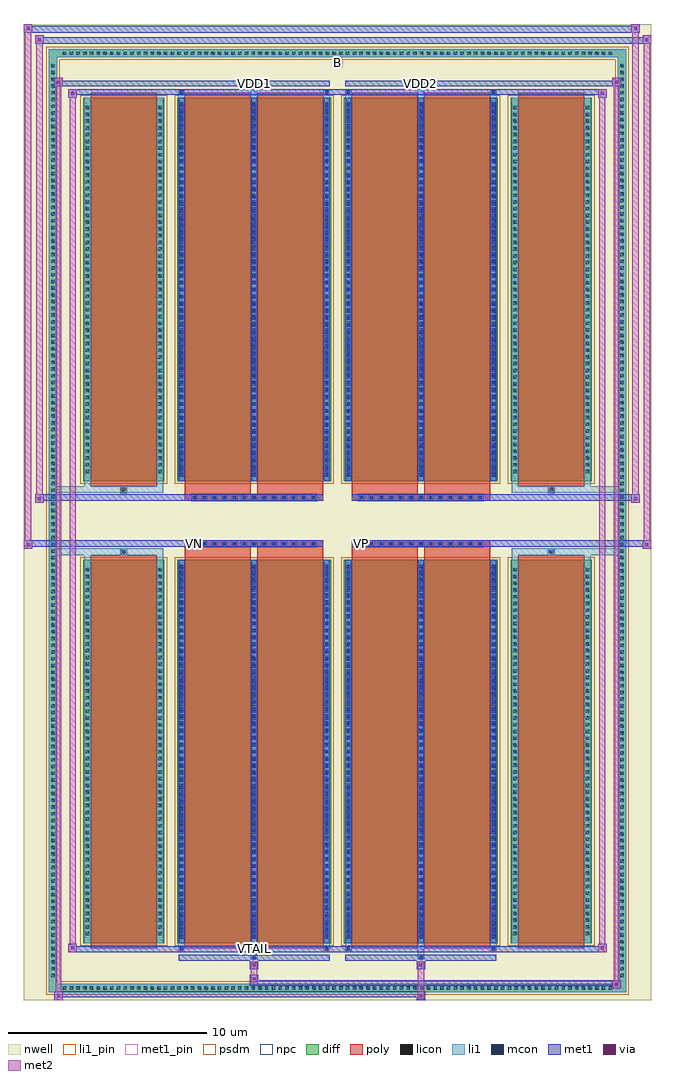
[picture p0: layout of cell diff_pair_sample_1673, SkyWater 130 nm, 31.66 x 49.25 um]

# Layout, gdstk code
import gdstk
lib = gdstk.Library(unit=1e-6, precision=5e-09)
def R(c, l, rs):  # rectangles x0, y0, x1, y1
    for r in rs: c.add(gdstk.rectangle(r[:2], r[2:], *l))
def A(c, l, x, y, w, h, nx, ny, dx, dy):  # array of equal rectangles
    R(c, l, [(x+i*dx, y+j*dy, x+i*dx+w, y+j*dy+h) for i in range(nx) for j in range(ny)])
def P(c, l, *ps):  # polygons
    for p in ps: c.add(gdstk.Polygon(p, *l))
nwell = (64, 20)
diff = (65, 20)
poly = (66, 20)
licon = (66, 44)
li1_pin = (67, 16)
li1 = (67, 20)
mcon = (67, 44)
met1_pin = (68, 16)
met1 = (68, 20)
via = (68, 44)
met2 = (69, 20)
psdm = (94, 20)
npc = (95, 20)

diff_pair_sample_1673 = lib.new_cell('diff_pair_sample_1673')
R(diff_pair_sample_1673, nwell, [(-15.83,-24.19,15.83,25.06), (-13.15,-22.38,-0.01,-0.8), (0.01,-22.38,13.15,-0.8), (-13.15,0.8,-0.01,22.38), (0.01,0.8,13.15,22.38)])
A(diff_pair_sample_1673, diff, -13.975, -23.79, 0.41, 0.41, 82, 2, 0.34, 47.17)
A(diff_pair_sample_1673, diff, -14.56, -23.155, 0.41, 0.41, 1, 136, 0, 0.34)
A(diff_pair_sample_1673, diff, 14.15, -23.155, 0.41, 0.41, 1, 136, 0, 0.34)
R(diff_pair_sample_1673, diff, [(-13.975,-23.79,13.975,-23.38), (-14.56,-23.155,-14.15,23.155), (14.15,-23.155,14.56,23.155), (-12.84,-21.335,-8.73,-1.985), (-8.09,-21.335,-0.32,-1.985), (0.32,-21.335,8.09,-1.985), (8.73,-21.335,12.84,-1.985), (-12.84,1.985,-8.73,21.335), (-8.09,1.985,-0.32,21.335), (0.32,1.985,8.09,21.335), (8.73,1.985,12.84,21.335), (-13.975,23.38,13.975,23.79)])
P(diff_pair_sample_1673, diff, [(14.56,23.79),(-14.56,23.79),(-14.56,-23.38),(-14.15,-23.38),(-14.15,23.38),(14.15,23.38),(14.15,-23.38),(-14.15,-23.38),(-14.56,-23.38),(-14.56,-23.79),(14.56,-23.79)])
A(diff_pair_sample_1673, poly, -7.37, -1.33, 0.33, 0.33, 13, 2, 0.5, 2.33)
A(diff_pair_sample_1673, poly, 1.04, -1.33, 0.33, 0.33, 13, 2, 0.5, 2.33)
R(diff_pair_sample_1673, poly, [(-12.45,-21.585,-9.12,-1.735), (-7.7,-21.585,-4.37,-1.735), (-4.04,-21.585,-0.71,-1.735), (0.71,-21.585,4.04,-1.735), (4.37,-21.585,7.7,-1.735), (9.12,-21.585,12.45,-1.735), (-10.95,-1.735,-10.62,-1.405), (-10.95,-1.735,-10.62,-1.405), (-7.7,-1.735,-4.37,-1.33), (-4.04,-1.735,-0.71,-1.33), (0.71,-1.735,4.04,-1.33), (4.37,-1.735,7.7,-1.33), (10.62,-1.735,10.95,-1.405), (10.62,-1.735,10.95,-1.405), (-7.7,-1.33,-0.71,-1), (0.71,-1.33,7.7,-1), (-7.7,1,-0.71,1.33), (0.71,1,7.7,1.33), (-7.7,1.33,-4.37,1.735), (-4.04,1.33,-0.71,1.735), (0.71,1.33,4.04,1.735), (4.37,1.33,7.7,1.735), (-10.95,1.405,-10.62,1.735), (-10.95,1.405,-10.62,1.735), (10.62,1.405,10.95,1.735), (10.62,1.405,10.95,1.735), (-12.45,1.735,-9.12,21.585), (-7.7,1.735,-4.37,21.585), (-4.04,1.735,-0.71,21.585), (0.71,1.735,4.04,21.585), (4.37,1.735,7.7,21.585), (9.12,1.735,12.45,21.585)])
A(diff_pair_sample_1673, licon, -13.855, -23.67, 0.17, 0.17, 82, 2, 0.34, 47.17)
A(diff_pair_sample_1673, licon, -14.44, -23.035, 0.17, 0.17, 1, 136, 0, 0.34)
A(diff_pair_sample_1673, licon, 14.27, -23.035, 0.17, 0.17, 1, 136, 0, 0.34)
A(diff_pair_sample_1673, licon, -12.7, -20.925, 0.17, 0.17, 1, 55, 0, 0.34)
A(diff_pair_sample_1673, licon, -9.04, -20.925, 0.17, 0.17, 1, 55, 0, 0.34)
A(diff_pair_sample_1673, licon, -7.95, -20.925, 0.17, 0.17, 3, 55, 3.66, 0.34)
A(diff_pair_sample_1673, licon, 0.46, -20.925, 0.17, 0.17, 3, 55, 3.66, 0.34)
A(diff_pair_sample_1673, licon, 8.87, -20.925, 0.17, 0.17, 1, 55, 0, 0.34)
A(diff_pair_sample_1673, licon, 12.53, -20.925, 0.17, 0.17, 1, 55, 0, 0.34)
A(diff_pair_sample_1673, licon, -7.29, -1.25, 0.17, 0.17, 13, 2, 0.5, 2.33)
A(diff_pair_sample_1673, licon, 1.12, -1.25, 0.17, 0.17, 13, 2, 0.5, 2.33)
A(diff_pair_sample_1673, licon, -12.7, 2.395, 0.17, 0.17, 1, 55, 0, 0.34)
A(diff_pair_sample_1673, licon, -9.04, 2.395, 0.17, 0.17, 1, 55, 0, 0.34)
A(diff_pair_sample_1673, licon, -7.95, 2.395, 0.17, 0.17, 3, 55, 3.66, 0.34)
A(diff_pair_sample_1673, licon, 0.46, 2.395, 0.17, 0.17, 3, 55, 3.66, 0.34)
A(diff_pair_sample_1673, licon, 8.87, 2.395, 0.17, 0.17, 1, 55, 0, 0.34)
A(diff_pair_sample_1673, licon, 12.53, 2.395, 0.17, 0.17, 1, 55, 0, 0.34)
R(diff_pair_sample_1673, licon, [(-10.87,-1.655,-10.7,-1.485), (10.7,-1.655,10.87,-1.485), (-10.87,1.485,-10.7,1.655), (10.7,1.485,10.87,1.655)])
R(diff_pair_sample_1673, li1_pin, [(-0.25,22.88,0.25,23.38)])
A(diff_pair_sample_1673, li1, -13.935, -23.75, 0.33, 0.33, 82, 2, 0.34, 47.17)
A(diff_pair_sample_1673, li1, -14.52, -23.115, 0.33, 0.33, 1, 136, 0, 0.34)
A(diff_pair_sample_1673, li1, 14.19, -23.115, 0.33, 0.33, 1, 136, 0, 0.34)
A(diff_pair_sample_1673, li1, -8.03, -21.335, 0.33, 19.35, 3, 2, 3.66, 23.32)
A(diff_pair_sample_1673, li1, 0.38, -21.335, 0.33, 19.35, 3, 2, 3.66, 23.32)
A(diff_pair_sample_1673, li1, -7.95, -21.105, 0.17, 0.17, 3, 53, 3.66, 0.36)
A(diff_pair_sample_1673, li1, -7.95, -21.105, 0.17, 18.89, 3, 2, 3.66, 23.32)
A(diff_pair_sample_1673, li1, 0.46, -21.105, 0.17, 0.17, 3, 53, 3.66, 0.36)
A(diff_pair_sample_1673, li1, 0.46, -21.105, 0.17, 18.89, 3, 2, 3.66, 23.32)
A(diff_pair_sample_1673, li1, -12.78, -21.005, 0.33, 0.33, 1, 55, 0, 0.34)
A(diff_pair_sample_1673, li1, -9.12, -21.005, 0.33, 0.33, 1, 55, 0, 0.34)
A(diff_pair_sample_1673, li1, -8.03, -21.005, 0.33, 0.33, 3, 55, 3.66, 0.34)
A(diff_pair_sample_1673, li1, 0.38, -21.005, 0.33, 0.33, 3, 55, 3.66, 0.34)
A(diff_pair_sample_1673, li1, 8.79, -21.005, 0.33, 0.33, 1, 55, 0, 0.34)
A(diff_pair_sample_1673, li1, 12.45, -21.005, 0.33, 0.33, 1, 55, 0, 0.34)
A(diff_pair_sample_1673, li1, -7.37, -1.33, 0.33, 0.33, 13, 2, 0.5, 2.33)
A(diff_pair_sample_1673, li1, 1.04, -1.33, 0.33, 0.33, 13, 2, 0.5, 2.33)
A(diff_pair_sample_1673, li1, -7.95, 2.215, 0.17, 0.17, 3, 53, 3.66, 0.36)
A(diff_pair_sample_1673, li1, 0.46, 2.215, 0.17, 0.17, 3, 53, 3.66, 0.36)
A(diff_pair_sample_1673, li1, -12.78, 2.315, 0.33, 0.33, 1, 55, 0, 0.34)
A(diff_pair_sample_1673, li1, -9.12, 2.315, 0.33, 0.33, 1, 55, 0, 0.34)
A(diff_pair_sample_1673, li1, -8.03, 2.315, 0.33, 0.33, 3, 55, 3.66, 0.34)
A(diff_pair_sample_1673, li1, 0.38, 2.315, 0.33, 0.33, 3, 55, 3.66, 0.34)
A(diff_pair_sample_1673, li1, 8.79, 2.315, 0.33, 0.33, 1, 55, 0, 0.34)
A(diff_pair_sample_1673, li1, 12.45, 2.315, 0.33, 0.33, 1, 55, 0, 0.34)
R(diff_pair_sample_1673, li1, [(-14.56,-23.79,-14.15,-23.38), (-14.56,-23.79,-14.15,-23.38), (-14.15,-23.79,14.15,-23.38), (14.15,-23.79,14.56,-23.38), (14.15,-23.79,14.56,-23.38), (-14.56,-23.38,-14.15,23.38), (14.15,-23.38,14.56,23.38), (-4.37,-22.14,-4.04,-21.335), (-4.29,-22.14,-4.12,-21.97), (4.04,-22.14,4.37,-21.335), (4.12,-22.14,4.29,-21.97), (-8.03,-21.71,-7.7,-21.335), (-7.95,-21.71,-7.78,-21.54), (-0.71,-21.71,-0.38,-21.335), (-0.63,-21.71,-0.46,-21.54), (0.38,-21.71,0.71,-21.335), (0.46,-21.71,0.63,-21.54), (7.7,-21.71,8.03,-21.335), (7.78,-21.71,7.95,-21.54), (-12.78,-21.335,-12.45,-1.985), (-9.12,-21.335,-8.79,-1.985), (8.79,-21.335,9.12,-1.985), (12.45,-21.335,12.78,-1.985), (-12.78,-1.985,-12.45,-1.405), (-9.12,-1.985,-8.79,-1.405), (8.79,-1.985,9.12,-1.405), (12.45,-1.985,12.78,-1.405), (-14.56,-1.735,-10.95,-1.405), (-12.78,-1.735,-10.95,-1.405), (-10.95,-1.735,-10.62,-1.405), (-10.62,-1.735,-8.79,-1.405), (8.79,-1.735,10.62,-1.405), (10.62,-1.735,10.95,-1.405), (10.62,-1.735,14.56,-1.405), (10.95,-1.735,12.78,-1.405), (-14.56,1.405,-10.95,1.735), (-12.78,1.405,-10.95,1.735), (-12.78,1.405,-12.45,1.985), (-10.95,1.405,-10.62,1.735), (-10.62,1.405,-8.79,1.735), (-9.12,1.405,-8.79,1.985), (8.79,1.405,10.62,1.735), (8.79,1.405,9.12,1.985), (10.62,1.405,10.95,1.735), (10.62,1.405,14.56,1.735), (10.95,1.405,12.78,1.735), (12.45,1.405,12.78,1.985), (-12.78,1.985,-12.45,21.335), (-9.12,1.985,-8.79,21.335), (8.79,1.985,9.12,21.335), (12.45,1.985,12.78,21.335), (-8.03,21.335,-7.7,21.71), (-4.37,21.335,-4.04,22.14), (-0.71,21.335,-0.38,21.71), (0.38,21.335,0.71,21.71), (4.04,21.335,4.37,22.14), (7.7,21.335,8.03,21.71), (-7.95,21.54,-7.78,21.71), (-0.63,21.54,-0.46,21.71), (0.46,21.54,0.63,21.71), (7.78,21.54,7.95,21.71), (-4.29,21.97,-4.12,22.14), (4.12,21.97,4.29,22.14), (-14.56,23.38,-14.15,23.79), (-14.56,23.38,-14.15,23.79), (-14.15,23.38,14.15,23.79), (14.15,23.38,14.56,23.79), (14.15,23.38,14.56,23.79)])
A(diff_pair_sample_1673, mcon, -7.95, -21.105, 0.17, 0.17, 3, 53, 3.66, 0.36)
A(diff_pair_sample_1673, mcon, 0.46, -21.105, 0.17, 0.17, 3, 53, 3.66, 0.36)
A(diff_pair_sample_1673, mcon, -7.29, -1.25, 0.17, 0.17, 13, 2, 0.5, 2.33)
A(diff_pair_sample_1673, mcon, 1.12, -1.25, 0.17, 0.17, 13, 2, 0.5, 2.33)
A(diff_pair_sample_1673, mcon, -7.95, 2.215, 0.17, 0.17, 3, 53, 3.66, 0.36)
A(diff_pair_sample_1673, mcon, 0.46, 2.215, 0.17, 0.17, 3, 53, 3.66, 0.36)
R(diff_pair_sample_1673, mcon, [(-4.29,-22.14,-4.12,-21.97), (4.12,-22.14,4.29,-21.97), (-7.95,-21.71,-7.78,-21.54), (-0.63,-21.71,-0.46,-21.54), (0.46,-21.71,0.63,-21.54), (7.78,-21.71,7.95,-21.54), (-7.95,21.54,-7.78,21.71), (-0.63,21.54,-0.46,21.71), (0.46,21.54,0.63,21.71), (7.78,21.54,7.95,21.71), (-4.29,21.97,-4.12,22.14), (4.12,21.97,4.29,22.14)])
R(diff_pair_sample_1673, met1_pin, [(-4.34,-21.75,-4.07,-21.48), (-7.34,-1.29,-7.07,-1.02), (1.07,-1.29,1.34,-1.02), (-4.34,21.93,-4.07,22.2), (4.07,21.93,4.34,22.2)])
A(diff_pair_sample_1673, met1, -8.01, -21.335, 0.29, 19.35, 3, 2, 3.66, 23.32)
A(diff_pair_sample_1673, met1, 0.4, -21.335, 0.29, 19.35, 3, 2, 3.66, 23.32)
A(diff_pair_sample_1673, met1, -8.01, -21.165, 0.29, 0.29, 3, 53, 3.66, 0.36)
A(diff_pair_sample_1673, met1, 0.4, -21.165, 0.29, 0.29, 3, 53, 3.66, 0.36)
A(diff_pair_sample_1673, met1, -7.35, -1.31, 0.29, 0.29, 13, 2, 0.5, 2.33)
A(diff_pair_sample_1673, met1, 1.06, -1.31, 0.29, 0.29, 13, 2, 0.5, 2.33)
A(diff_pair_sample_1673, met1, -8.01, 2.155, 0.29, 0.29, 3, 53, 3.66, 0.36)
A(diff_pair_sample_1673, met1, 0.4, 2.155, 0.29, 0.29, 3, 53, 3.66, 0.36)
R(diff_pair_sample_1673, met1, [(-14.29,-24.19,-13.86,-23.76), (3.99,-24.19,4.42,-23.76), (-14.29,-24.05,4.42,-23.76), (13.86,-23.62,14.29,-23.19), (-4.42,-23.48,14.29,-23.19), (-4.42,-23.34,-3.99,-22.91), (-4.42,-22.63,-3.99,-22.2), (3.99,-22.63,4.42,-22.2), (-8.01,-22.2,-0.4,-21.91), (-4.35,-22.2,-4.06,-21.91), (0.4,-22.2,8.01,-21.91), (4.06,-22.2,4.35,-21.91), (-13.58,-21.77,-13.15,-21.34), (-13.58,-21.77,-8.01,-21.48), (-8.01,-21.77,-7.72,-21.48), (-8.01,-21.77,-0.4,-21.48), (-0.69,-21.77,-0.4,-21.48), (-0.4,-21.77,0.4,-21.48), (0.4,-21.77,0.69,-21.48), (0.4,-21.77,8.01,-21.48), (7.72,-21.77,8.01,-21.48), (8.01,-21.77,13.58,-21.48), (13.15,-21.77,13.58,-21.34), (-15.83,-1.43,-15.4,-1), (15.4,-1.43,15.83,-1), (-15.83,-1.33,-0.71,-1), (-7.7,-1.33,-0.71,-1), (0.71,-1.33,7.7,-1), (0.71,-1.33,15.83,-1), (-15.26,0.9,-14.83,1.33), (14.83,0.9,15.26,1.33), (-15.26,1,-7.7,1.33), (-7.7,1,-0.71,1.33), (0.71,1,7.7,1.33), (7.7,1,15.26,1.33), (-13.58,21.34,-13.15,21.77), (13.15,21.34,13.58,21.77), (-13.58,21.48,-8.01,21.77), (-8.01,21.48,-7.72,21.77), (-8.01,21.48,-0.4,21.77), (-0.69,21.48,-0.4,21.77), (-0.4,21.48,0.4,21.77), (0.4,21.48,0.69,21.77), (0.4,21.48,8.01,21.77), (7.72,21.48,8.01,21.77), (8.01,21.48,13.58,21.77), (-14.29,21.91,-13.86,22.34), (-14.29,21.91,-8.01,22.2), (-8.01,21.91,-0.4,22.2), (-4.35,21.91,-4.06,22.2), (0.4,21.91,8.01,22.2), (4.06,21.91,4.35,22.2), (8.01,21.91,14.29,22.2), (13.86,21.91,14.29,22.34), (-15.26,24.06,-14.83,24.49), (-15.26,24.06,-13.15,24.39), (-13.15,24.06,13.15,24.39), (13.15,24.06,15.83,24.39), (15.4,24.06,15.83,24.49), (-15.83,24.63,-15.4,25.06), (-15.83,24.63,-13.15,24.96), (-13.15,24.63,13.15,24.96), (13.15,24.63,15.26,24.96), (14.83,24.63,15.26,25.06)])
R(diff_pair_sample_1673, via, [(-14.15,-24.05,-14,-23.9), (4.13,-24.05,4.28,-23.9), (14,-23.48,14.15,-23.33), (-4.28,-23.2,-4.13,-23.05), (-4.28,-22.49,-4.13,-22.34), (4.13,-22.49,4.28,-22.34), (-13.44,-21.63,-13.29,-21.48), (13.29,-21.63,13.44,-21.48), (-15.69,-1.29,-15.54,-1.14), (15.54,-1.29,15.69,-1.14), (-15.12,1.04,-14.97,1.19), (14.97,1.04,15.12,1.19), (-13.44,21.48,-13.29,21.63), (13.29,21.48,13.44,21.63), (-14.15,22.05,-14,22.2), (14,22.05,14.15,22.2), (-15.12,24.2,-14.97,24.35), (15.54,24.2,15.69,24.35), (-15.69,24.77,-15.54,24.92), (14.97,24.77,15.12,24.92)])
R(diff_pair_sample_1673, met2, [(-14.29,-24.19,-13.86,-23.76), (-14.22,-24.19,-13.93,22.34), (-13.93,-24.19,-13.86,-23.76), (-14.24,-24.14,-13.91,-23.81), (4.04,-24.14,4.37,-23.81), (4.04,-23.81,4.37,-22.58), (13.86,-23.62,14.29,-23.19), (13.93,-23.62,14.22,22.34), (14.22,-23.62,14.29,-23.19), (13.91,-23.57,14.24,-23.24), (-4.37,-23.29,-4.04,-22.96), (-4.37,-22.96,-4.04,-22.58), (-4.37,-22.58,-4.04,-22.25), (4.04,-22.58,4.37,-22.25), (-13.58,-21.77,-13.15,-21.34), (-13.51,-21.77,-13.22,21.77), (-13.22,-21.77,-13.15,-21.34), (13.15,-21.77,13.58,-21.34), (13.22,-21.77,13.51,21.77), (13.51,-21.77,13.58,-21.34), (-13.53,-21.72,-13.2,-21.39), (13.2,-21.72,13.53,-21.39), (-15.83,-1.43,-15.4,-1), (-15.78,-1.43,-15.45,25.06), (-15.45,-1.43,-15.4,-1), (15.4,-1.43,15.83,-1), (15.45,-1.43,15.78,24.49), (15.78,-1.43,15.83,-1), (-15.78,-1.38,-15.45,-1.05), (15.45,-1.38,15.78,-1.05), (-15.26,0.9,-14.83,1.33), (-15.21,0.9,-14.88,24.49), (-14.88,0.9,-14.83,1.33), (14.83,0.9,15.26,1.33), (14.88,0.9,15.21,25.06), (15.21,0.9,15.26,1.33), (-15.21,0.95,-14.88,1.28), (14.88,0.95,15.21,1.28), (-13.58,21.34,-13.15,21.77), (-13.22,21.34,-13.15,21.77), (13.15,21.34,13.58,21.77), (13.51,21.34,13.58,21.77), (-13.53,21.39,-13.2,21.72), (13.2,21.39,13.53,21.72), (-14.29,21.91,-13.86,22.34), (-13.93,21.91,-13.86,22.34), (13.86,21.91,14.29,22.34), (14.22,21.91,14.29,22.34), (-14.24,21.96,-13.91,22.29), (13.91,21.96,14.24,22.29), (-15.26,24.06,-14.83,24.49), (-14.88,24.06,-14.83,24.49), (15.4,24.06,15.83,24.49), (15.78,24.06,15.83,24.49), (-15.21,24.11,-14.88,24.44), (15.45,24.11,15.78,24.44), (-15.83,24.63,-15.4,25.06), (-15.45,24.63,-15.4,25.06), (14.83,24.63,15.26,25.06), (15.21,24.63,15.26,25.06), (-15.78,24.68,-15.45,25.01), (14.88,24.68,15.21,25.01)])
R(diff_pair_sample_1673, psdm, [(-12.97,-21.465,-8.6,-1.855), (-8.22,-21.465,-0.19,-1.855), (0.19,-21.465,8.22,-1.855), (8.6,-21.465,12.97,-1.855), (-12.97,1.855,-8.6,21.465), (-8.22,1.855,-0.19,21.465), (0.19,1.855,8.22,21.465), (8.6,1.855,12.97,21.465)])
P(diff_pair_sample_1673, psdm, [(14.69,23.92),(-14.69,23.92),(-14.69,-23.25),(-14.02,-23.25),(-14.02,23.25),(14.02,23.25),(14.02,-23.25),(-14.02,-23.25),(-14.69,-23.25),(-14.69,-23.92),(14.69,-23.92)])
A(diff_pair_sample_1673, npc, -7.39, -1.35, 0.37, 0.37, 13, 2, 0.5, 2.33)
A(diff_pair_sample_1673, npc, 1.02, -1.35, 0.37, 0.37, 13, 2, 0.5, 2.33)
R(diff_pair_sample_1673, npc, [(-10.97,-1.755,-10.6,-1.385), (10.6,-1.755,10.97,-1.385), (-7.39,-1.35,-6.52,-0.98), (-7.39,-1.35,-6.52,-0.98), (-6.89,-1.35,-6.02,-0.98), (-6.89,-1.35,-6.02,-0.98), (-6.39,-1.35,-5.52,-0.98), (-6.39,-1.35,-5.52,-0.98), (-5.89,-1.35,-5.02,-0.98), (-5.89,-1.35,-5.02,-0.98), (-5.39,-1.35,-4.52,-0.98), (-5.39,-1.35,-4.52,-0.98), (-4.89,-1.35,-4.02,-0.98), (-4.89,-1.35,-4.02,-0.98), (-4.39,-1.35,-3.52,-0.98), (-4.39,-1.35,-3.52,-0.98), (-3.89,-1.35,-3.02,-0.98), (-3.89,-1.35,-3.02,-0.98), (-3.39,-1.35,-2.52,-0.98), (-3.39,-1.35,-2.52,-0.98), (-2.89,-1.35,-2.02,-0.98), (-2.89,-1.35,-2.02,-0.98), (-2.39,-1.35,-1.52,-0.98), (-2.39,-1.35,-1.52,-0.98), (-1.89,-1.35,-1.02,-0.98), (-1.89,-1.35,-1.02,-0.98), (1.02,-1.35,1.89,-0.98), (1.02,-1.35,1.89,-0.98), (1.52,-1.35,2.39,-0.98), (1.52,-1.35,2.39,-0.98), (2.02,-1.35,2.89,-0.98), (2.02,-1.35,2.89,-0.98), (2.52,-1.35,3.39,-0.98), (2.52,-1.35,3.39,-0.98), (3.02,-1.35,3.89,-0.98), (3.02,-1.35,3.89,-0.98), (3.52,-1.35,4.39,-0.98), (3.52,-1.35,4.39,-0.98), (4.02,-1.35,4.89,-0.98), (4.02,-1.35,4.89,-0.98), (4.52,-1.35,5.39,-0.98), (4.52,-1.35,5.39,-0.98), (5.02,-1.35,5.89,-0.98), (5.02,-1.35,5.89,-0.98), (5.52,-1.35,6.39,-0.98), (5.52,-1.35,6.39,-0.98), (6.02,-1.35,6.89,-0.98), (6.02,-1.35,6.89,-0.98), (6.52,-1.35,7.39,-0.98), (6.52,-1.35,7.39,-0.98), (-7.39,0.98,-6.52,1.35), (-7.39,0.98,-6.52,1.35), (-6.89,0.98,-6.02,1.35), (-6.89,0.98,-6.02,1.35), (-6.39,0.98,-5.52,1.35), (-6.39,0.98,-5.52,1.35), (-5.89,0.98,-5.02,1.35), (-5.89,0.98,-5.02,1.35), (-5.39,0.98,-4.52,1.35), (-5.39,0.98,-4.52,1.35), (-4.89,0.98,-4.02,1.35), (-4.89,0.98,-4.02,1.35), (-4.39,0.98,-3.52,1.35), (-4.39,0.98,-3.52,1.35), (-3.89,0.98,-3.02,1.35), (-3.89,0.98,-3.02,1.35), (-3.39,0.98,-2.52,1.35), (-3.39,0.98,-2.52,1.35), (-2.89,0.98,-2.02,1.35), (-2.89,0.98,-2.02,1.35), (-2.39,0.98,-1.52,1.35), (-2.39,0.98,-1.52,1.35), (-1.89,0.98,-1.02,1.35), (-1.89,0.98,-1.02,1.35), (1.02,0.98,1.89,1.35), (1.02,0.98,1.89,1.35), (1.52,0.98,2.39,1.35), (1.52,0.98,2.39,1.35), (2.02,0.98,2.89,1.35), (2.02,0.98,2.89,1.35), (2.52,0.98,3.39,1.35), (2.52,0.98,3.39,1.35), (3.02,0.98,3.89,1.35), (3.02,0.98,3.89,1.35), (3.52,0.98,4.39,1.35), (3.52,0.98,4.39,1.35), (4.02,0.98,4.89,1.35), (4.02,0.98,4.89,1.35), (4.52,0.98,5.39,1.35), (4.52,0.98,5.39,1.35), (5.02,0.98,5.89,1.35), (5.02,0.98,5.89,1.35), (5.52,0.98,6.39,1.35), (5.52,0.98,6.39,1.35), (6.02,0.98,6.89,1.35), (6.02,0.98,6.89,1.35), (6.52,0.98,7.39,1.35), (6.52,0.98,7.39,1.35), (-10.97,1.385,-10.6,1.755), (10.6,1.385,10.97,1.755)])
diff_pair_sample_1673.add(gdstk.Label('VTAIL', (-4.205,-21.615), layer=68, texttype=5))
diff_pair_sample_1673.add(gdstk.Label('VN', (-7.205,-1.155), layer=68, texttype=5))
diff_pair_sample_1673.add(gdstk.Label('VP', (1.205,-1.155), layer=68, texttype=5))
diff_pair_sample_1673.add(gdstk.Label('B', (0,23.13), layer=67, texttype=5))
diff_pair_sample_1673.add(gdstk.Label('VDD2', (4.205,22.065), layer=68, texttype=5))
diff_pair_sample_1673.add(gdstk.Label('VDD1', (-4.205,22.065), layer=68, texttype=5))

lib.write_gds('diff_pair_sample_1673.gds')
